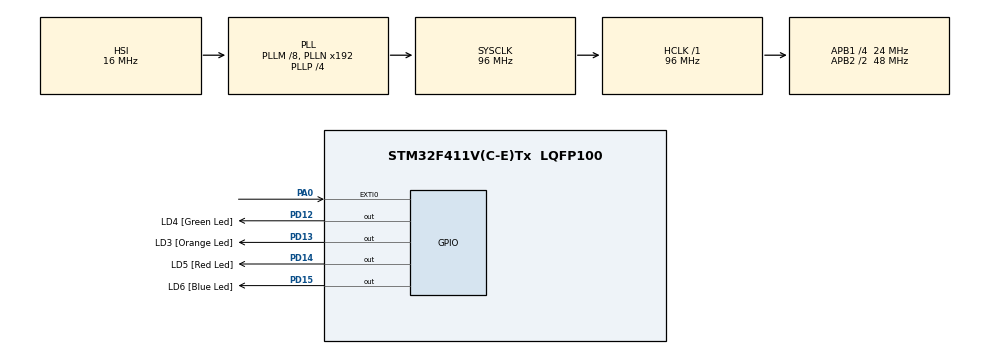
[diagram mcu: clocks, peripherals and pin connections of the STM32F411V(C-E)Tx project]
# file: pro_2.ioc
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Mcu.Family=STM32F4
Mcu.Name=STM32F411V(C-E)Tx
Mcu.Package=LQFP100
NVIC.PriorityGroup=NVIC_PRIORITYGROUP_0
PA0-WKUP.GPIO_ModeDefaultEXTI=GPIO_MODE_EVT_RISING
PA0-WKUP.Signal=GPXTI0
PD12.GPIO_Label=LD4 [Green Led]
PD12.GPIO_PuPd=GPIO_NOPULL
PD12.GPIO_Speed=GPIO_SPEED_FREQ_LOW
PD12.Signal=GPIO_Output
PD13.GPIO_Label=LD3 [Orange Led]
PD13.GPIO_PuPd=GPIO_NOPULL
PD13.GPIO_Speed=GPIO_SPEED_FREQ_LOW
PD13.Signal=GPIO_Output
PD14.GPIO_Label=LD5 [Red Led]
PD14.GPIO_PuPd=GPIO_NOPULL
PD14.GPIO_Speed=GPIO_SPEED_FREQ_LOW
PD14.Signal=GPIO_Output
PD15.GPIO_Label=LD6 [Blue Led]
PD15.GPIO_PuPd=GPIO_NOPULL
PD15.GPIO_Speed=GPIO_SPEED_FREQ_LOW
PD15.Signal=GPIO_Output
PH0\ -\ OSC_IN.GPIO_Label=PH0-OSC_IN
PH0\ -\ OSC_IN.Mode=HSE-External-Oscillator
PH0\ -\ OSC_IN.Signal=RCC_OSC_IN
PH1\ -\ OSC_OUT.GPIO_Label=PH1-OSC_OUT
PH1\ -\ OSC_OUT.Mode=HSE-External-Oscillator
PH1\ -\ OSC_OUT.Signal=RCC_OSC_OUT
ProjectManager.HeapSize=0x200
ProjectManager.StackSize=0x400
ProjectManager.TargetToolchain=Makefile
RCC.48MHZClocksFreq_Value=48000000
RCC.AHBFreq_Value=96000000
RCC.APB1CLKDivider=RCC_HCLK_DIV4
RCC.APB1Freq_Value=24000000
RCC.APB1TimFreq_Value=48000000
RCC.APB2CLKDivider=RCC_HCLK_DIV2
RCC.APB2Freq_Value=48000000
RCC.APB2TimFreq_Value=96000000
RCC.CortexFreq_Value=96000000
RCC.HCLKFreq_Value=96000000
RCC.HSE_VALUE=8000000
RCC.HSI_VALUE=16000000
RCC.LSE_VALUE=32768
RCC.PLLI2SM=5
RCC.PLLI2SN=200
RCC.PLLM=8
RCC.PLLP=RCC_PLLP_DIV4
RCC.PLLQ=8
RCC.SYSCLKFreq_VALUE=96000000
RCC.SYSCLKSource=RCC_SYSCLKSOURCE_PLLCLK
RCC.VCOOutputFreq_Value=384000000
board=STM32F411E-DISCO

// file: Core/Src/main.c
/* USER CODE BEGIN Header */
/**
 ******************************************************************************
 * @file           : main.c
 * @brief          : Main program body
 ******************************************************************************
 * @attention
 *
 * Copyright (c) 2024 STMicroelectronics.
 * All rights reserved.
 *
 * This software is licensed under terms that can be found in the LICENSE file
 * in the root directory of this software component.
 * If no LICENSE file comes with this software, it is provided AS-IS.
 *
 ******************************************************************************
 */
/* USER CODE END Header */
#include "main.h"

/* USER CODE BEGIN Includes */
#include <stdio.h>
/* USER CODE END Includes */

void SystemClock_Config(void);
static void MX_GPIO_Init(void);

/* USER CODE BEGIN 0 */

// Some functions for printing ower SWO (debug only)
void SWO_PrintChar(char const c, uint8_t const portNo)
{
  volatile int timeout;

  /* Check if Trace Control Register (ITM->TCR at 0xE0000E80) is set */
  /* check Trace Control Register if ITM trace is enabled*/
  if ((ITM->TCR & ITM_TCR_ITMENA_Msk) == 0)
  {
    return; /* not enabled? */
  }
  /* Check if the requested channel stimulus port (ITM->TER at 0xE0000E00) is enabled */
  /* check Trace Enable Register if requested port is enabled */
  if ((ITM->TER & (1ul << portNo)) == 0)
  {
    return; /* requested port not enabled? */
  }
  timeout = 5000; /* arbitrary timeout value */
  while (ITM->PORT[0].u32 == 0)
  {
    /* Wait until STIMx is ready, then send data */
    if (--timeout == 0)
    {
      return; /* not able to send */
    }
  }
  ITM->PORT[0].u8 = (uint8_t)c;
}
void SWO_PrintString(char const *s, uint8_t const portNumber)
{
  while (*s != '\0')
  {
    SWO_PrintChar(*s++, portNumber);
  }
}
void printString(char const *str)
{
  SWO_PrintString(str, 0);
}

/* USER CODE END 0 */

int main(void)
{

  /* USER CODE BEGIN 1 */
  char msg[20];
  static uint32_t counter = 0;
  size_t len = 0;
  /* USER CODE END 1 */

  /* MCU Configuration--------------------------------------------------------*/

  /* Reset of all peripherals, Initializes the Flash interface and the Systick. */
  HAL_Init();

  /* Configure the system clock */
  SystemClock_Config();

  /* Initialize all configured peripherals */
  MX_GPIO_Init();
  /* USER CODE BEGIN 2 */
  // Empty variables to show compiler option -Wno-unused-variable
  int var1 = 549;
  float var2 = 24.241f;
  char var3 = 'c';
  double var4 = 521.521;
  /* USER CODE END 2 */

  /* Infinite loop */
  while (1)
  {

    /* USER CODE BEGIN 3 */

    len = sprintf(msg, "Counter = %lu\n\r", counter++);
    printString(msg);
    HAL_GPIO_TogglePin(GPIOD, LD3_Pin);
    HAL_GPIO_TogglePin(GPIOD, LD4_Pin);
    HAL_GPIO_TogglePin(GPIOD, LD5_Pin);
    HAL_GPIO_TogglePin(GPIOD, LD6_Pin);

    HAL_Delay(1000);
  }

  /* USER CODE END 3 */
}

void SystemClock_Config(void)
{
  RCC_OscInitTypeDef RCC_OscInitStruct = {0};
  RCC_ClkInitTypeDef RCC_ClkInitStruct = {0};

  /** Configure the main internal regulator output voltage
   */
  __HAL_RCC_PWR_CLK_ENABLE();
  __HAL_PWR_VOLTAGESCALING_CONFIG(PWR_REGULATOR_VOLTAGE_SCALE1);

  /** Initializes the RCC Oscillators according to the specified parameters
   * in the RCC_OscInitTypeDef structure.
   */
  RCC_OscInitStruct.OscillatorType = RCC_OSCILLATORTYPE_HSI;
  RCC_OscInitStruct.HSIState = RCC_HSI_ON;
  RCC_OscInitStruct.HSICalibrationValue = RCC_HSICALIBRATION_DEFAULT;
  RCC_OscInitStruct.PLL.PLLState = RCC_PLL_ON;
  RCC_OscInitStruct.PLL.PLLSource = RCC_PLLSOURCE_HSI;
  RCC_OscInitStruct.PLL.PLLM = 8;
  RCC_OscInitStruct.PLL.PLLN = 192;
  RCC_OscInitStruct.PLL.PLLP = RCC_PLLP_DIV4;
  RCC_OscInitStruct.PLL.PLLQ = 8;
  if (HAL_RCC_OscConfig(&RCC_OscInitStruct) != HAL_OK)
  {
    Error_Handler();
  }

  /** Initializes the CPU, AHB and APB buses clocks
   */
  RCC_ClkInitStruct.ClockType = RCC_CLOCKTYPE_HCLK | RCC_CLOCKTYPE_SYSCLK | RCC_CLOCKTYPE_PCLK1 | RCC_CLOCKTYPE_PCLK2;
  RCC_ClkInitStruct.SYSCLKSource = RCC_SYSCLKSOURCE_PLLCLK;
  RCC_ClkInitStruct.AHBCLKDivider = RCC_SYSCLK_DIV1;
  RCC_ClkInitStruct.APB1CLKDivider = RCC_HCLK_DIV4;
  RCC_ClkInitStruct.APB2CLKDivider = RCC_HCLK_DIV2;

  if (HAL_RCC_ClockConfig(&RCC_ClkInitStruct, FLASH_LATENCY_3) != HAL_OK)
  {
    Error_Handler();
  }
}

static void MX_GPIO_Init(void)
{
  GPIO_InitTypeDef GPIO_InitStruct = {0};

  /* GPIO Ports Clock Enable */
  __HAL_RCC_GPIOH_CLK_ENABLE();
  __HAL_RCC_GPIOA_CLK_ENABLE();
  __HAL_RCC_GPIOD_CLK_ENABLE();

  /*Configure GPIO pin Output Level */
  HAL_GPIO_WritePin(GPIOD, LD4_Pin | LD3_Pin | LD5_Pin | LD6_Pin, GPIO_PIN_RESET);

  /*Configure GPIO pin : PA0 */
  GPIO_InitStruct.Pin = GPIO_PIN_0;
  GPIO_InitStruct.Mode = GPIO_MODE_EVT_RISING;
  GPIO_InitStruct.Pull = GPIO_NOPULL;
  HAL_GPIO_Init(GPIOA, &GPIO_InitStruct);

  /*Configure GPIO pins : LD4_Pin LD3_Pin LD5_Pin LD6_Pin */
  GPIO_InitStruct.Pin = LD4_Pin | LD3_Pin | LD5_Pin | LD6_Pin;
  GPIO_InitStruct.Mode = GPIO_MODE_OUTPUT_PP;
  GPIO_InitStruct.Pull = GPIO_NOPULL;
  GPIO_InitStruct.Speed = GPIO_SPEED_FREQ_LOW;
  HAL_GPIO_Init(GPIOD, &GPIO_InitStruct);

}

void Error_Handler(void)
{
  __disable_irq();
  while (1)
  {
  }
}
